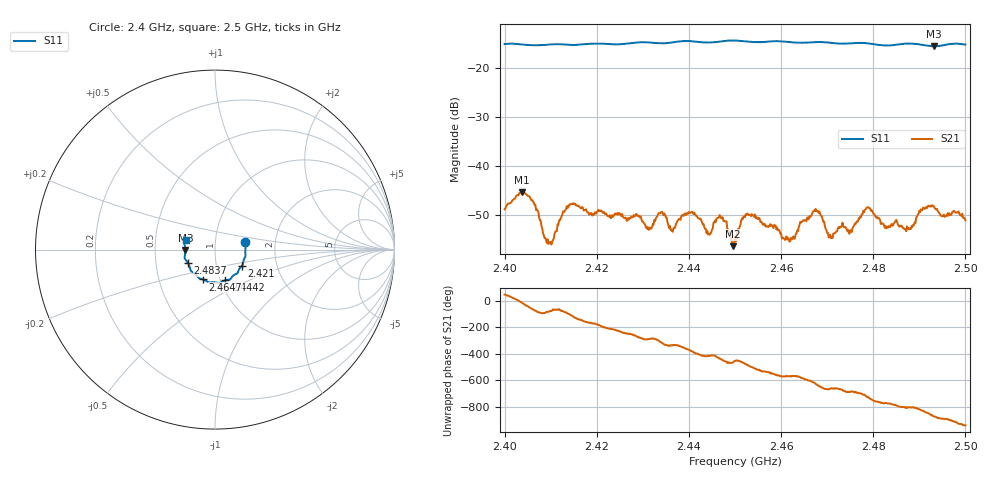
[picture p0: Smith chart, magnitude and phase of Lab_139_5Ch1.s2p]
# Hz S RI R 50
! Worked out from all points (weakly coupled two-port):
!   601 points, 2.4 GHz to 2.5 GHz, reference 50 ohm
!   highest |S21| = -45.42 dB at 2.4037 GHz (marker M1); lowest = -56.4 dB at 2.4495 GHz (marker M2)
!   lowest |S11| = -15.6 dB at 2.4932 GHz (marker M3), VSWR 1.40, Z = 35.8 - j0.105 ohm
!   |S11| at or under -10 dB: start of sweep to end of sweep
!   S12 and S22 are empty: the file has one direction only
!   S11 on the Smith chart (normalised r, x): 2.4 GHz: 1.40, +0.12; 2.421 GHz: 1.33, -0.24; 2.4442 GHz: 1.05, -0.37; 2.4647 GHz: 0.83, -0.28; 2.4837 GHz: 0.73, -0.11; 2.5 GHz: 0.72, +0.08
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2.4e9  0.1688 0.0404  0.00254 0.00254  0 0  0 0
2.403667e9  0.1708 0.0209  0.00519 -0.00136  0 0  0 0
2.409667e9  0.1698 -0.0269  0.000209 -0.00161  0 0  0 0
2.413667e9  0.1641 -0.0479  -0.000413 -0.00367  0 0  0 0
2.416667e9  0.1582 -0.0684  -0.00311 -0.00199  0 0  0 0
2.421e9  0.1512 -0.0887  -0.00337 0.000903  0 0  0 0
2.433333e9  0.1085 -0.14  0.00159 0.00282  0 0  0 0
2.440833e9  0.0791 -0.1677  0.00307 -0.00138  0 0  0 0
2.444167e9  0.057 -0.1706  0.0011 -0.00165  0 0  0 0
2.446833e9  0.0375 -0.1805  0.000606 -0.00288  0 0  0 0
2.4495e9  0.0262 -0.1872  -0.00046 -0.00144  0 0  0 0
2.45e9  0.0247 -0.1873  -0.000122 -0.00189  0 0  0 0
2.452833e9  0.0105 -0.1837  -0.00194 -0.00256  0 0  0 0
2.461833e9  -0.0451 -0.1767  -0.00149 0.000776  0 0  0 0
2.464667e9  -0.0671 -0.1661  -0.00194 0.00192  0 0  0 0
2.466667e9  -0.0809 -0.1623  -0.0011 0.00298  0 0  0 0
2.470667e9  -0.0953 -0.1519  0.00112 0.00163  0 0  0 0
2.478833e9  -0.1373 -0.1113  0.00377 -0.000307  0 0  0 0
2.483333e9  -0.1496 -0.0763  0.00145 -0.00195  0 0  0 0
2.483667e9  -0.1515 -0.0734  0.00135 -0.00194  0 0  0 0
2.493167e9  -0.165 -0.00143  -0.00335 -0.00186  0 0  0 0
2.5e9  -0.1637 0.0519  -0.00219 0.0017  0 0  0 0
